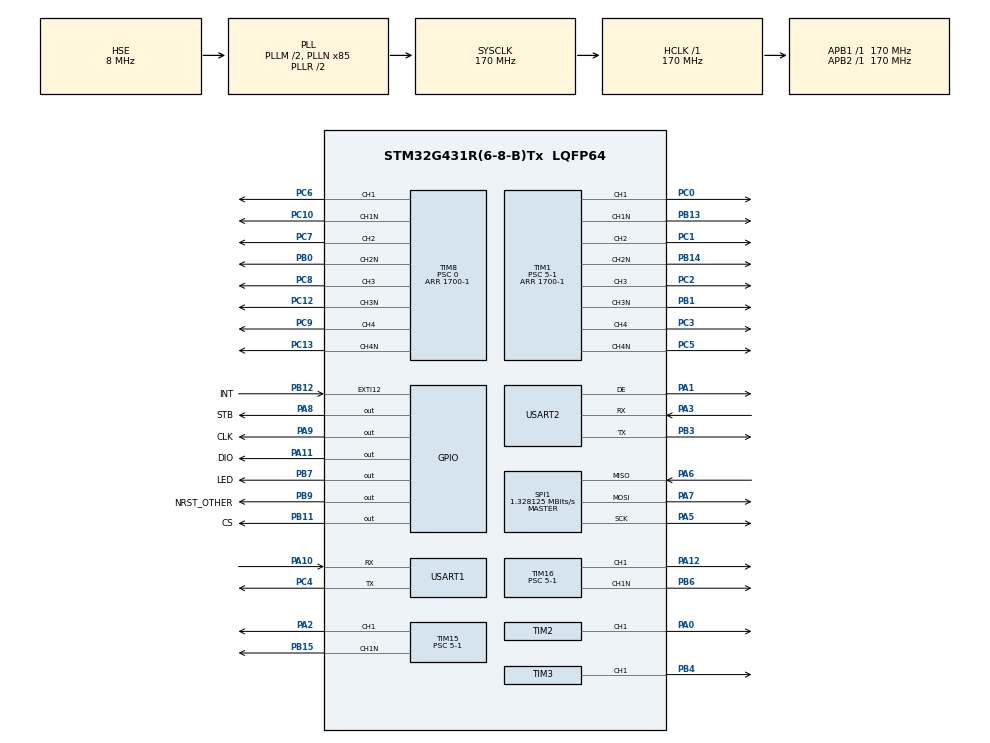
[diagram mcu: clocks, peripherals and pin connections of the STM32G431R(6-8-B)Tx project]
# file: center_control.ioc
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Dma.Request0=USART2_RX
Dma.USART2_RX.0.Direction=DMA_PERIPH_TO_MEMORY
Dma.USART2_RX.0.EventEnable=DISABLE
Dma.USART2_RX.0.Instance=DMA1_Channel1
Dma.USART2_RX.0.MemDataAlignment=DMA_MDATAALIGN_BYTE
Dma.USART2_RX.0.MemInc=DMA_MINC_ENABLE
Dma.USART2_RX.0.Mode=DMA_NORMAL
Dma.USART2_RX.0.PeriphDataAlignment=DMA_PDATAALIGN_BYTE
Dma.USART2_RX.0.PeriphInc=DMA_PINC_DISABLE
Dma.USART2_RX.0.Polarity=HAL_DMAMUX_REQ_GEN_RISING
Dma.USART2_RX.0.Priority=DMA_PRIORITY_LOW
Dma.USART2_RX.0.RequestNumber=1
Dma.USART2_RX.0.SignalID=NONE
Dma.USART2_RX.0.SyncEnable=DISABLE
Dma.USART2_RX.0.SyncPolarity=HAL_DMAMUX_SYNC_NO_EVENT
Dma.USART2_RX.0.SyncRequestNumber=1
Dma.USART2_RX.0.SyncSignalID=NONE
FREERTOS.Mutexes01=SysStateMutex,Dynamic,NULL,Available
FREERTOS.Queues01=Queue_Temp,4,float,0,Dynamic,NULL,NULL
FREERTOS.Tasks01=controlTask,40,512,StartcontrolTask,Default,NULL,Dynamic,NULL,NULL;HMITask,8,256,StartHMITask,Default,NULL,Dynamic,NULL,NULL
FREERTOS.configTOTAL_HEAP_SIZE=8192
Mcu.Family=STM32G4
Mcu.Name=STM32G431R(6-8-B)Tx
Mcu.Package=LQFP64
NVIC.DMA1_Channel1_IRQn=true\:5\:0\:false\:false\:true\:true\:false\:true\:true
NVIC.PriorityGroup=NVIC_PRIORITYGROUP_4
NVIC.TIM4_IRQn=true\:15\:0\:false\:false\:true\:false\:false\:true\:true
NVIC.TimeBase=TIM4_IRQn
NVIC.TimeBaseIP=TIM4
NVIC.USART2_IRQn=true\:6\:0\:true\:false\:true\:true\:true\:true\:true
PA0.Signal=S_TIM2_CH1
PA1.Mode=Hardware Flow Control (RS485)
PA1.Signal=USART2_DE
PA10.Mode=Asynchronous
PA10.Signal=USART1_RX
PA11.GPIO_Label=DIO
PA11.GPIO_ModeDefaultOutputPP=GPIO_MODE_OUTPUT_OD
PA11.GPIO_PuPd=GPIO_NOPULL
PA11.Signal=GPIO_Output
PA12.Signal=S_TIM16_CH1
PA13.Mode=Serial_Wire
PA13.Signal=SYS_JTMS-SWDIO
PA14.Mode=Serial_Wire
PA14.Signal=SYS_JTCK-SWCLK
PA2.Signal=S_TIM15_CH1
PA3.Mode=Asynchronous
PA3.Signal=USART2_RX
PA5.Mode=Full_Duplex_Master
PA5.Signal=SPI1_SCK
PA6.Mode=Full_Duplex_Master
PA6.Signal=SPI1_MISO
PA7.Mode=Full_Duplex_Master
PA7.Signal=SPI1_MOSI
PA8.GPIO_Label=STB
PA8.GPIO_ModeDefaultOutputPP=GPIO_MODE_OUTPUT_OD
PA8.GPIO_PuPd=GPIO_NOPULL
PA8.Signal=GPIO_Output
PA9.GPIO_Label=CLK
PA9.GPIO_ModeDefaultOutputPP=GPIO_MODE_OUTPUT_OD
PA9.GPIO_PuPd=GPIO_NOPULL
PA9.Signal=GPIO_Output
PB0.Mode=PWM Generation2 CH2 CH2N
PB0.Signal=TIM8_CH2N
PB1.Mode=PWM Generation3 CH3 CH3N
PB1.Signal=TIM1_CH3N
PB11.GPIO_Label=CS
PB11.Signal=GPIO_Output
PB12.GPIO_Label=INT
PB12.Signal=GPXTI12
PB13.Mode=PWM Generation1 CH1 CH1N
PB13.Signal=TIM1_CH1N
PB14.Mode=PWM Generation2 CH2 CH2N
PB14.Signal=TIM1_CH2N
PB15.Mode=PWM Generation1 CH1 CH1N
PB15.Signal=TIM15_CH1N
PB3.Mode=Asynchronous
PB3.Signal=USART2_TX
PB4.Signal=S_TIM3_CH1
PB6.Mode=PWM Generation1 CH1 CH1N
PB6.Signal=TIM16_CH1N
PB7.GPIO_Label=LED
PB7.Signal=GPIO_Output
PB9.GPIO_Label=NRST_OTHER
PB9.Signal=GPIO_Output
PC0.Signal=S_TIM1_CH1
PC1.Signal=S_TIM1_CH2
PC10.Mode=PWM Generation1 CH1 CH1N
PC10.Signal=TIM8_CH1N
PC12.Mode=PWM Generation3 CH3 CH3N
PC12.Signal=TIM8_CH3N
PC13.Mode=PWM Generation4 CH4 CH4N
PC13.Signal=TIM8_CH4N
PC2.Signal=S_TIM1_CH3
PC3.Signal=S_TIM1_CH4
PC4.Mode=Asynchronous
PC4.Signal=USART1_TX
PC5.Mode=PWM Generation4 CH4 CH4N
PC5.Signal=TIM1_CH4N
PC6.Signal=S_TIM8_CH1
PC7.Signal=S_TIM8_CH2
PC8.Signal=S_TIM8_CH3
PC9.Signal=S_TIM8_CH4
PF0-OSC_IN.Mode=HSE-External-Oscillator
PF0-OSC_IN.Signal=RCC_OSC_IN
PF1-OSC_OUT.Mode=HSE-External-Oscillator
PF1-OSC_OUT.Signal=RCC_OSC_OUT
ProjectManager.HeapSize=0x200
ProjectManager.StackSize=0x400
ProjectManager.TargetToolchain=MDK-ARM V5.32
RCC.ADC12Freq_Value=170000000
RCC.AHBFreq_Value=170000000
RCC.APB1Freq_Value=170000000
RCC.APB1TimFreq_Value=170000000
RCC.APB2Freq_Value=170000000
RCC.APB2TimFreq_Value=170000000
RCC.CortexFreq_Value=170000000
RCC.EXTERNAL_CLOCK_VALUE=12288000
RCC.HCLKFreq_Value=170000000
RCC.HSE_VALUE=8000000
RCC.HSI48_VALUE=48000000
RCC.HSI_VALUE=16000000
RCC.LSE_VALUE=32768
RCC.PLLM=RCC_PLLM_DIV2
RCC.PLLN=85
RCC.PLLSourceVirtual=RCC_PLLSOURCE_HSE
RCC.SYSCLKFreq_VALUE=170000000
RCC.SYSCLKSource=RCC_SYSCLKSOURCE_PLLCLK
RCC.USBFreq_Value=170000000
RCC.VCOOutputFreq_Value=340000000
SH.S_TIM15_CH1.0=TIM15_CH1,PWM Generation1 CH1 CH1N
SH.S_TIM16_CH1.0=TIM16_CH1,PWM Generation1 CH1 CH1N
SH.S_TIM1_CH1.0=TIM1_CH1,PWM Generation1 CH1 CH1N
SH.S_TIM1_CH2.0=TIM1_CH2,PWM Generation2 CH2 CH2N
SH.S_TIM1_CH3.0=TIM1_CH3,PWM Generation3 CH3 CH3N
SH.S_TIM1_CH4.0=TIM1_CH4,PWM Generation4 CH4 CH4N
SH.S_TIM2_CH1.0=TIM2_CH1,PWM Generation1 CH1
SH.S_TIM3_CH1.0=TIM3_CH1,PWM Generation1 CH1
SH.S_TIM8_CH1.0=TIM8_CH1,PWM Generation1 CH1 CH1N
SH.S_TIM8_CH2.0=TIM8_CH2,PWM Generation2 CH2 CH2N
SH.S_TIM8_CH3.0=TIM8_CH3,PWM Generation3 CH3 CH3N
SH.S_TIM8_CH4.0=TIM8_CH4,PWM Generation4 CH4 CH4N
SPI1.BaudRatePrescaler=SPI_BAUDRATEPRESCALER_128
SPI1.CalculateBaudRate=1.328125 MBits/s
SPI1.Direction=SPI_DIRECTION_2LINES
SPI1.Mode=SPI_MODE_MASTER
SPI1.VirtualType=VM_MASTER
TIM1.Channel-PWM\ Generation1\ CH1\ CH1N=TIM_CHANNEL_1
TIM1.Channel-PWM\ Generation2\ CH2\ CH2N=TIM_CHANNEL_2
TIM1.Channel-PWM\ Generation3\ CH3\ CH3N=TIM_CHANNEL_3
TIM1.Channel-PWM\ Generation4\ CH4\ CH4N=TIM_CHANNEL_4
TIM1.DeadTime=100-1
TIM1.DeadTimePreload=ENABLE
TIM1.OffStateIDLEMode=TIM_OSSI_ENABLE
TIM1.OffStateRunMode=TIM_OSSR_ENABLE
TIM1.PeriodNoDither=1700-1
TIM1.Prescaler=5-1
TIM15.Channel-PWM\ Generation1\ CH1\ CH1N=TIM_CHANNEL_1
TIM15.DeadTime=100
TIM15.DeadTimePreload=ENABLE
TIM15.OffStateIDLEMode=TIM_OSSI_ENABLE
TIM15.OffStateRunMode=TIM_OSSR_ENABLE
TIM15.PeriodNoDither=1700-1
TIM15.Prescaler=5-1
TIM16.Channel=TIM_CHANNEL_1
TIM16.DeadTime=100
TIM16.DeadTimePreload=ENABLE
TIM16.OffStateIDLEMode=TIM_OSSI_ENABLE
TIM16.OffStateRunMode=TIM_OSSR_ENABLE
TIM16.PeriodNoDither=1700-1
TIM16.Prescaler=5-1
TIM2.Channel-PWM\ Generation1\ CH1=TIM_CHANNEL_1
TIM2.PeriodNoDither=1000-1
TIM2.Prescaler=68-1
TIM3.Channel-PWM\ Generation1\ CH1=TIM_CHANNEL_1
TIM3.PeriodNoDither=1000-1
TIM3.Prescaler=85-1
TIM8.AsymmetricalDeadTime=DISABLE
TIM8.Channel-PWM\ Generation1\ CH1\ CH1N=TIM_CHANNEL_1
TIM8.Channel-PWM\ Generation2\ CH2\ CH2N=TIM_CHANNEL_2
TIM8.Channel-PWM\ Generation3\ CH3\ CH3N=TIM_CHANNEL_3
TIM8.Channel-PWM\ Generation4\ CH4\ CH4N=TIM_CHANNEL_4
TIM8.DeadTime=150
TIM8.DeadTimePreload=ENABLE
TIM8.OffStateIDLEMode=TIM_OSSI_ENABLE
TIM8.OffStateRunMode=TIM_OSSR_ENABLE
TIM8.PeriodNoDither=1700-1
TIM8.Prescaler=0
USART1.VirtualMode-Asynchronous=VM_ASYNC
USART2.VirtualMode-Asynchronous=VM_ASYNC
USART2.VirtualMode-Hardware\ Flow\ Control\ (RS485)=VM_ASYNC
VP_FREERTOS_VS_CMSIS_V2.Mode=CMSIS_V2
VP_SYS_VS_DBSignals.Mode=DisableDeadBatterySignals
VP_SYS_VS_tim4.Mode=TIM4
VP_TIM15_VS_ClockSourceINT.Mode=Internal
VP_TIM16_VS_ClockSourceINT.Mode=Enable_Timer
VP_TIM1_VS_ClockSourceINT.Mode=Internal
VP_TIM2_VS_ClockSourceINT.Mode=Internal
VP_TIM3_VS_ClockSourceINT.Mode=Internal
VP_TIM8_VS_ClockSourceINT.Mode=Internal
board=custom

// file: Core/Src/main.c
/* USER CODE BEGIN Header */
/**
 ******************************************************************************
 * @file           : main.c
 * @brief          : Main program body
 ******************************************************************************
 * @attention
 *
 * Copyright (c) 2026 STMicroelectronics.
 * All rights reserved.
 *
 * This software is licensed under terms that can be found in the LICENSE file
 * in the root directory of this software component.
 * If no LICENSE file comes with this software, it is provided AS-IS.
 *
 ******************************************************************************
 */
/* USER CODE END Header */
#include "main.h"
#include "cmsis_os.h"
#include "dma.h"
#include "spi.h"
#include "tim.h"
#include "usart.h"
#include "gpio.h"

/* USER CODE BEGIN Includes */
#include "tm1638_board.h"
#include "pid_controller.h"
#include "temp_panel.h"
/* USER CODE END Includes */

/* USER CODE BEGIN PV */
#define RX_BUFFER_SIZE 256
uint8_t rx_buffer[RX_BUFFER_SIZE];
uint16_t rx_length = 0;

PID_TypeDef temp_pid;

float Sys_Temperatures[4] = {0.0f};
uint8_t Sys_Status[4] = {0};

int16_t count_tim4 = 0;
int8_t flag_temp_update = 0;
/* USER CODE END PV */

void SystemClock_Config(void);
void MX_FREERTOS_Init(void);
/* USER CODE BEGIN PFP */
void Parse_Temperature_Buffer(uint8_t *pData, uint16_t Size);
void Parse_Temperature_Byte(uint8_t rx_byte);
/* USER CODE END PFP */

/* USER CODE BEGIN 0 */
/* ── 长按检测 ── */
static uint32_t key_hold_start[KEY_MAX_NUM] = {0};
static uint32_t key_last_repeat[KEY_MAX_NUM] = {0};
static bool key_long_sent[KEY_MAX_NUM] = {false};

/* 按键回调: 仅在按下瞬间触发 SHORT 事件, 同时记录 hold 起始时刻 */
static void OnTM1638Key(TM1638_Key_t key)
{
  PanelKey_t pk = PanelKey_FromTM1638(key);
  if (pk == PANEL_KEY_NONE)
    return;

  uint32_t now = osKernelGetTickCount();
  key_hold_start[key] = now;
  key_last_repeat[key] = 0;
  key_long_sent[key] = false;
  TempPanel_KeyEvent(&g_panel, pk, PANEL_KEY_EVT_SHORT, now);
}

/*
 * 长按/连发检测: 需在主循环或 HMITask 中每 20ms 调用,
 * 紧跟在 TM1638_ProcessKeys() 之后。
 */
void CheckKeyHoldEvents(void)
{
  uint32_t now = osKernelGetTickCount();
  for (int i = 0; i < KEY_MAX_NUM; i++)
  {
    PanelKey_t pk = PanelKey_FromTM1638((TM1638_Key_t)i);
    if (pk == PANEL_KEY_NONE)
      continue;

    if (htm1638.key_states[i])
    {
      if (key_hold_start[i] == 0)
        continue;

      uint32_t held = now - key_hold_start[i];

      /* 按住 > 2s 触发一次 LONG */
      if (held >= 2000)
      {
        if (!key_long_sent[i])
        {
          TempPanel_KeyEvent(&g_panel, pk, PANEL_KEY_EVT_LONG, now);
          key_long_sent[i] = true;
        }
      }
      /* 按住 > 500ms 开始连发, 每 150ms 一次 REPEAT */
      else if (held >= 500)
      {
        if (key_last_repeat[i] == 0 || now - key_last_repeat[i] >= 150)
        {
          TempPanel_KeyEvent(&g_panel, pk, PANEL_KEY_EVT_REPEAT, now);
          key_last_repeat[i] = now;
        }
      }
    }
    else
    {
      key_hold_start[i] = 0;
      key_last_repeat[i] = 0;
      key_long_sent[i] = false;
    }
  }
}

void OnModeKeyPressed(void) { OnTM1638Key(KEY_MODE); }
void OnStartStopKeyPressed(void) { OnTM1638Key(KEY_START_STOP); }
void OnUpKeyPressed(void) { OnTM1638Key(KEY_UP); }
void OnDownKeyPressed(void) { OnTM1638Key(KEY_DOWN); }
void OnEnterKeyPressed(void) { OnTM1638Key(KEY_ENTER); }
/* USER CODE END 0 */

int main(void)
{

  /* MCU Configuration--------------------------------------------------------*/

  /* Reset of all peripherals, Initializes the Flash interface and the Systick. */
  HAL_Init();

  /* Configure the system clock */
  SystemClock_Config();

  /* Initialize all configured peripherals */
  MX_GPIO_Init();
  MX_DMA_Init();
  MX_SPI1_Init();
  MX_TIM1_Init();
  MX_TIM2_Init();
  MX_TIM3_Init();
  MX_TIM8_Init();
  MX_TIM15_Init();
  MX_TIM16_Init();
  MX_USART1_UART_Init();
  MX_USART2_UART_Init();
  /* USER CODE BEGIN 2 */

  //  HAL_TIM_PWM_Start(&htim1, TIM_CHANNEL_1);
  //  HAL_TIMEx_PWMN_Start(&htim1, TIM_CHANNEL_1);
  //  HAL_TIM_PWM_Start(&htim1, TIM_CHANNEL_2);
  //  HAL_TIMEx_PWMN_Start(&htim1, TIM_CHANNEL_2);
  HAL_TIM_PWM_Start(&htim1, TIM_CHANNEL_3);
  HAL_TIMEx_PWMN_Start(&htim1, TIM_CHANNEL_3);
  HAL_TIM_PWM_Start(&htim1, TIM_CHANNEL_4);
  HAL_TIMEx_PWMN_Start(&htim1, TIM_CHANNEL_4);

  //  HAL_TIM_PWM_Start(&htim8, TIM_CHANNEL_1);
  //  HAL_TIMEx_PWMN_Start(&htim8, TIM_CHANNEL_1);
  //  HAL_TIM_PWM_Start(&htim8, TIM_CHANNEL_2);
  //  HAL_TIMEx_PWMN_Start(&htim8, TIM_CHANNEL_2);
  //  HAL_TIM_PWM_Start(&htim8, TIM_CHANNEL_3);
  //  HAL_TIMEx_PWMN_Start(&htim8, TIM_CHANNEL_3);
  //  HAL_TIM_PWM_Start(&htim8, TIM_CHANNEL_4);
  //  HAL_TIMEx_PWMN_Start(&htim8, TIM_CHANNEL_4);

  //  HAL_TIM_PWM_Start(&htim15, TIM_CHANNEL_1);
  //  HAL_TIMEx_PWMN_Start(&htim15, TIM_CHANNEL_1);

  //  HAL_TIM_PWM_Start(&htim16, TIM_CHANNEL_1);
  //  HAL_TIMEx_PWMN_Start(&htim16, TIM_CHANNEL_1);

  //  __HAL_TIM_SET_COMPARE(&htim1, TIM_CHANNEL_1, 0);
  //  __HAL_TIM_SET_COMPARE(&htim1, TIM_CHANNEL_2, 0);

  //  __HAL_TIM_SET_COMPARE(&htim1, TIM_CHANNEL_3, 0);
  //  __HAL_TIM_SET_COMPARE(&htim1, TIM_CHANNEL_4, 0);

  //  __HAL_TIM_SET_COMPARE(&htim8, TIM_CHANNEL_1, 0);
  //  __HAL_TIM_SET_COMPARE(&htim8, TIM_CHANNEL_2, 0);

  //  __HAL_TIM_SET_COMPARE(&htim8, TIM_CHANNEL_3, 0);
  //  __HAL_TIM_SET_COMPARE(&htim8, TIM_CHANNEL_4, 0);

  //  __HAL_TIM_SET_COMPARE(&htim15, TIM_CHANNEL_1, 0);
  //  __HAL_TIM_SET_COMPARE(&htim16, TIM_CHANNEL_1, 0);

  HAL_TIM_PWM_Start(&htim2, TIM_CHANNEL_1);
  HAL_TIM_PWM_Start(&htim3, TIM_CHANNEL_1);
  __HAL_TIM_SET_COMPARE(&htim2, TIM_CHANNEL_1, 1000 - 1);

  // 启动带有空闲检测的 DMA 接收
  // 1. 启动 USART2 带有空闲检测的 DMA 接收
  HAL_UARTEx_ReceiveToIdle_DMA(&huart2, rx_buffer, RX_BUFFER_SIZE);

  // 2. 修正报错：直接通过 huart2 结构体内部的 hdmarx 指针来关闭过半中断
  __HAL_DMA_DISABLE_IT(huart2.hdmarx, DMA_IT_HT);
  HAL_Delay(1000);

  /* 一键初始化: TM1638 + Panel + PID + 默认显示 */
  Panel_Init();

  /* 注册所有按键回调 */
  TM1638_RegisterKeyCallback(&htm1638, KEY_MODE, OnModeKeyPressed);
  TM1638_RegisterKeyCallback(&htm1638, KEY_START_STOP, OnStartStopKeyPressed);
  TM1638_RegisterKeyCallback(&htm1638, KEY_UP, OnUpKeyPressed);
  TM1638_RegisterKeyCallback(&htm1638, KEY_DOWN, OnDownKeyPressed);
  TM1638_RegisterKeyCallback(&htm1638, KEY_ENTER, OnEnterKeyPressed);

  __HAL_TIM_SET_COMPARE(&htim2, TIM_CHANNEL_1, 500);
  __HAL_TIM_SET_COMPARE(&htim3, TIM_CHANNEL_1, 1000 - 1);

  HAL_Delay(100);
  __HAL_TIM_SET_COMPARE(&htim1, TIM_CHANNEL_3, 200);
  HAL_Delay(100);
  __HAL_TIM_SET_COMPARE(&htim1, TIM_CHANNEL_3, 400);
  HAL_Delay(100);
  __HAL_TIM_SET_COMPARE(&htim1, TIM_CHANNEL_3, 700);

  // HAL_Delay(100);
  // __HAL_TIM_SET_COMPARE(&htim8, TIM_CHANNEL_2, 100);
  // HAL_Delay(100);
  // __HAL_TIM_SET_COMPARE(&htim8, TIM_CHANNEL_2, 200);
  // HAL_Delay(100);
  // __HAL_TIM_SET_COMPARE(&htim8, TIM_CHANNEL_2, 300);
  // HAL_Delay(100);
  // __HAL_TIM_SET_COMPARE(&htim8, TIM_CHANNEL_2, 400);
  // HAL_Delay(100);
  // __HAL_TIM_SET_COMPARE(&htim8, TIM_CHANNEL_2, 600);
  // HAL_Delay(100);
  // __HAL_TIM_SET_COMPARE(&htim8, TIM_CHANNEL_2, 800);
  // //		HAL_Delay(100);
  // //	__HAL_TIM_SET_COMPARE(&htim8, TIM_CHANNEL_2, 900);
  // //			HAL_Delay(1000);
  // //	__HAL_TIM_SET_COMPARE(&htim8, TIM_CHANNEL_2, 1000);

  // //
  // //
  // HAL_Delay(100);
  // __HAL_TIM_SET_COMPARE(&htim1, TIM_CHANNEL_2, 100);
  // HAL_Delay(100);
  // __HAL_TIM_SET_COMPARE(&htim1, TIM_CHANNEL_2, 200);
  // HAL_Delay(100);
  // __HAL_TIM_SET_COMPARE(&htim1, TIM_CHANNEL_2, 300);
  // HAL_Delay(100);
  // __HAL_TIM_SET_COMPARE(&htim1, TIM_CHANNEL_2, 350);
  // HAL_Delay(100);
  // __HAL_TIM_SET_COMPARE(&htim1, TIM_CHANNEL_2, 600);
  // HAL_Delay(100);
  // __HAL_TIM_SET_COMPARE(&htim1, TIM_CHANNEL_2, 700);
  ////		HAL_Delay(100);
  ////	__HAL_TIM_SET_COMPARE(&htim1, TIM_CHANNEL_2, 900);
  //
  //
  //			HAL_Delay(100);
  //	__HAL_TIM_SET_COMPARE(&htim15, TIM_CHANNEL_1, 100);
  //	HAL_Delay(100);
  //	__HAL_TIM_SET_COMPARE(&htim15, TIM_CHANNEL_1, 200);
  //	HAL_Delay(100);
  //	__HAL_TIM_SET_COMPARE(&htim15, TIM_CHANNEL_1, 300);
  //	HAL_Delay(100);
  //	__HAL_TIM_SET_COMPARE(&htim15, TIM_CHANNEL_1, 400);
  //		HAL_Delay(100);
  //	__HAL_TIM_SET_COMPARE(&htim15, TIM_CHANNEL_1, 600);
  //		HAL_Delay(100);
  //	__HAL_TIM_SET_COMPARE(&htim15, TIM_CHANNEL_1, 700);
  //		HAL_Delay(100);
  ////	__HAL_TIM_SET_COMPARE(&htim16, TIM_CHANNEL_1, 900);
  ////			HAL_Delay(100);
  ////	__HAL_TIM_SET_COMPARE(&htim1, TIM_CHANNEL_4, 1000);
  //

  // // 1. 初始化 PID: Kp=2.0, Ki=5.0, Kd=0.1, 采样周期 dt=0.01秒 (即 100Hz)
  // PID_Init(&temp_pid, 30.0f, 1.0f, 0.0f, 0.1f);

  // // 2. 设置限幅: 输出限制在 -100 到 100 (占空比), 积分限制在 -40 到 40
  // PID_SetLimits(&temp_pid, 700, 1699, 700, 1600);

  // // 3. 设置目标值：让电机达到 1500 RPM
  // PID_SetTarget(&temp_pid, -10.0f);

  //
  HAL_GPIO_WritePin(NRST_OTHER_GPIO_Port, NRST_OTHER_Pin, GPIO_PIN_SET);
  uint32_t last_scan_time = 0;
  float temp = 0.0f;

  /* USER CODE END 2 */

  /* Init scheduler */
  osKernelInitialize(); /* Call init function for freertos objects (in cmsis_os2.c) */
  MX_FREERTOS_Init();

  /* Start scheduler */
  osKernelStart();

  /* We should never get here as control is now taken by the scheduler */

  /* Infinite loop (fallback: 如果 FreeRTOS 未启动，在此运行测试程序) */
  while (1)
  {

    /* USER CODE BEGIN 3 */
    uint32_t now = HAL_GetTick();
    static uint32_t last_scan = 0;

    /* 每 20ms 扫描一次按键并驱动面板 */
    if (now - last_scan >= 20)
    {
      last_scan = now;
      TM1638_ProcessKeys(&htm1638);
      TempPanel_Task(&g_panel, now);
    }

    /* 将收到的温度数据注入面板 (float 直接传入) */
    if (flag_temp_update)
    {
      TempPanel_UpdateMeasuredTemp(&g_panel, 1, Sys_Temperatures[1], now);
      flag_temp_update = 0;
    }

    HAL_GPIO_TogglePin(LED_GPIO_Port, LED_Pin);
    osDelay(10);
  }
  /* USER CODE END 3 */
}

void SystemClock_Config(void)
{
  RCC_OscInitTypeDef RCC_OscInitStruct = {0};
  RCC_ClkInitTypeDef RCC_ClkInitStruct = {0};

  /** Configure the main internal regulator output voltage
   */
  HAL_PWREx_ControlVoltageScaling(PWR_REGULATOR_VOLTAGE_SCALE1_BOOST);

  /** Initializes the RCC Oscillators according to the specified parameters
   * in the RCC_OscInitTypeDef structure.
   */
  RCC_OscInitStruct.OscillatorType = RCC_OSCILLATORTYPE_HSE;
  RCC_OscInitStruct.HSEState = RCC_HSE_ON;
  RCC_OscInitStruct.PLL.PLLState = RCC_PLL_ON;
  RCC_OscInitStruct.PLL.PLLSource = RCC_PLLSOURCE_HSE;
  RCC_OscInitStruct.PLL.PLLM = RCC_PLLM_DIV2;
  RCC_OscInitStruct.PLL.PLLN = 85;
  RCC_OscInitStruct.PLL.PLLP = RCC_PLLP_DIV2;
  RCC_OscInitStruct.PLL.PLLQ = RCC_PLLQ_DIV2;
  RCC_OscInitStruct.PLL.PLLR = RCC_PLLR_DIV2;
  if (HAL_RCC_OscConfig(&RCC_OscInitStruct) != HAL_OK)
  {
    Error_Handler();
  }

  /** Initializes the CPU, AHB and APB buses clocks
   */
  RCC_ClkInitStruct.ClockType = RCC_CLOCKTYPE_HCLK | RCC_CLOCKTYPE_SYSCLK | RCC_CLOCKTYPE_PCLK1 | RCC_CLOCKTYPE_PCLK2;
  RCC_ClkInitStruct.SYSCLKSource = RCC_SYSCLKSOURCE_PLLCLK;
  RCC_ClkInitStruct.AHBCLKDivider = RCC_SYSCLK_DIV1;
  RCC_ClkInitStruct.APB1CLKDivider = RCC_HCLK_DIV1;
  RCC_ClkInitStruct.APB2CLKDivider = RCC_HCLK_DIV1;

  if (HAL_RCC_ClockConfig(&RCC_ClkInitStruct, FLASH_LATENCY_4) != HAL_OK)
  {
    Error_Handler();
  }
}

/* USER CODE BEGIN 4 */
void HAL_UARTEx_RxEventCallback(UART_HandleTypeDef *huart, uint16_t Size)
{
  // 判断是否是 USART2 触发的接收完成/空闲中断
  if (huart->Instance == USART2)
  {
    // 2. 将这次 DMA 收到的数据块扔给解析器提取温度
    Parse_Temperature_Buffer(rx_buffer, Size);

    // 3. 必须重新开启 USART2 的 DMA 接收，否则只能收一次
    HAL_UARTEx_ReceiveToIdle_DMA(&huart2, rx_buffer, RX_BUFFER_SIZE);

    // 4. 再次关闭过半中断，防止接收一半时触发不必要的中断打断 CPU
    __HAL_DMA_DISABLE_IT(huart->hdmarx, DMA_IT_HT);
  }
}

/**
 * @brief  字节级协议解析状态机 (自动处理粘包/断包)
 * @param  rx_byte 接收到的单字节
 */
void Parse_Temperature_Byte(uint8_t rx_byte)
{
  static uint8_t state = 0;
  static uint8_t frame_buf[9];
  static uint8_t idx = 0;

  switch (state)
  {
  case 0: // 寻找帧头 1
    if (rx_byte == 0xAA)
    {
      frame_buf[0] = rx_byte;
      state = 1;
    }
    break;

  case 1: // 寻找帧头 2
    if (rx_byte == 0x55)
    {
      frame_buf[1] = rx_byte;
      idx = 2;
      state = 2;
    }
    else if (rx_byte == 0xAA)
    {
      state = 1; // 容错：连续收到两个 AA
    }
    else
    {
      state = 0; // 帧头错误，状态机复位
    }
    break;

  case 2: // 接收数据体与校验和
    frame_buf[idx++] = rx_byte;

    if (idx >= 9)
    { // 收集满一帧 9 字节
      // 1. 计算校验和
      uint8_t sum = 0;
      for (int i = 2; i <= 7; i++)
      {
        sum += frame_buf[i];
      }

      // 2. 验证校验和
      if (sum == frame_buf[8])
      {
        uint8_t ch_id = frame_buf[2];  // 通道号 1~4
        uint8_t status = frame_buf[3]; // 状态位

        // 3. 提取并保存数据
        if (ch_id >= 1 && ch_id <= 4)
        {
          Sys_Status[ch_id - 1] = status; // 保存状态

          if (status == 0)
          {
            // 状态正常时，提取浮点温度数据
            float temp_val;
            uint8_t *pTemp = (uint8_t *)&temp_val;
            pTemp[0] = frame_buf[4];
            pTemp[1] = frame_buf[5];
            pTemp[2] = frame_buf[6];
            pTemp[3] = frame_buf[7];

            // 存入全局温度数组
            Sys_Temperatures[ch_id - 1] = temp_val;

            // printf("CH%d OK: %.4f\r\n", ch_id, temp_val);
            if (ch_id == 2) // 如果是 CH2 的温度更新了，设置标志让主循环计算 PID 输出
            {
              flag_temp_update = 1;
            }
          }
          else
          {
            // 如果状态为 1 (断开/超时)，为了安全，可以把该通道温度设为一个异常值 (例如 -999.0)
            // Sys_Temperatures[ch_id - 1] = -999.0f;
          }
        }
      }
      // 解析完毕，状态机归零，准备迎接下一帧
      state = 0;
    }
    break;
  }
}

/**
 * @brief  数据块解析函数 (供空闲中断调用)
 * @param  pData 接收到的数据首地址
 * @param  Size  接收到的数据长度
 */
void Parse_Temperature_Buffer(uint8_t *pData, uint16_t Size)
{
  for (uint16_t i = 0; i < Size; i++)
  {
    Parse_Temperature_Byte(pData[i]); // 将数据块逐字节喂给状态机
  }
}

/* USER CODE END 4 */

void HAL_TIM_PeriodElapsedCallback(TIM_HandleTypeDef *htim)
{
  if (htim->Instance == TIM4)
  {
    HAL_IncTick();
  }
}

void Error_Handler(void)
{
  __disable_irq();
  while (1)
  {
  }
}

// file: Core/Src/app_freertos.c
/* USER CODE BEGIN Header */
/**
 ******************************************************************************
 * File Name          : app_freertos.c
 * Description        : Code for freertos applications
 ******************************************************************************
 * @attention
 *
 * Copyright (c) 2026 STMicroelectronics.
 * All rights reserved.
 *
 * This software is licensed under terms that can be found in the LICENSE file
 * in the root directory of this software component.
 * If no LICENSE file comes with this software, it is provided AS-IS.
 *
 ******************************************************************************
 */
/* USER CODE END Header */

#include "FreeRTOS.h"
#include "task.h"
#include "main.h"
#include "cmsis_os.h"

/* USER CODE BEGIN Includes */
#include "tm1638_board.h"
#include "temp_panel.h"
/* USER CODE END Includes */

/* Definitions for controlTask */
osThreadId_t controlTaskHandle;
const osThreadAttr_t controlTask_attributes = {
    .name = "controlTask",
    .priority = (osPriority_t)osPriorityHigh,
    .stack_size = 512 * 4};
/* Definitions for HMITask */
osThreadId_t HMITaskHandle;
const osThreadAttr_t HMITask_attributes = {
    .name = "HMITask",
    .priority = (osPriority_t)osPriorityLow,
    .stack_size = 256 * 4};
/* Definitions for Queue_Temp */
osMessageQueueId_t Queue_TempHandle;
const osMessageQueueAttr_t Queue_Temp_attributes = {
    .name = "Queue_Temp"};
/* Definitions for SysStateMutex */
osMutexId_t SysStateMutexHandle;
const osMutexAttr_t SysStateMutex_attributes = {
    .name = "SysStateMutex"};

void StartcontrolTask(void *argument);
void StartHMITask(void *argument);

void MX_FREERTOS_Init(void); /* (MISRA C 2004 rule 8.1) */

void MX_FREERTOS_Init(void)
{
  /* Create the mutex(es) */
  /* creation of SysStateMutex */
  SysStateMutexHandle = osMutexNew(&SysStateMutex_attributes);

  /* Create the queue(s) */
  /* creation of Queue_Temp */
  Queue_TempHandle = osMessageQueueNew(4, sizeof(float), &Queue_Temp_attributes);

  /* Create the thread(s) */
  /* creation of controlTask */
  controlTaskHandle = osThreadNew(StartcontrolTask, NULL, &controlTask_attributes);

  /* creation of HMITask */
  HMITaskHandle = osThreadNew(StartHMITask, NULL, &HMITask_attributes);

}

void StartcontrolTask(void *argument)
{
  /* USER CODE BEGIN StartcontrolTask */
  /* Infinite loop */
  uint32_t now;

  /*
   * PID 控制循环 (100Hz = 10ms)
   *
   * 伪代码示意:
   *
   *   float current_temp = get_cell_temperature(cell);
   *   float output = PID_Compute(pid, current_temp);
   *   if (output > 0) { // 加热
   *       __HAL_TIM_SET_COMPARE(&htim1, TIM_CHANNEL_3, (uint32_t)output);
   *       __HAL_TIM_SET_COMPARE(&htim1, TIM_CHANNEL_4, 0);
   *   } else { // 制冷
   *       __HAL_TIM_SET_COMPARE(&htim1, TIM_CHANNEL_3, 0);
   *       __HAL_TIM_SET_COMPARE(&htim1, TIM_CHANNEL_4, (uint32_t)(-output));
   *   }
   */
  for (;;)
  {
    // now = osKernelGetTickCount();

    // /* 对两个恒温池执行 PID 控制循环 */
    // for (uint8_t cell = 0; cell < PANEL_CELL_NUM; cell++)
    // {
    //   TempCell_t *c = &g_panel.cell[cell];
    //
    //   if (c->run_mode != CELL_STOP && c->pid_enabled)
    //   {
    //     /* PID_TypeDef *pid = get_pid_for_cell(cell); */
    //     float output = PID_Compute(&temp_pid, c->current_temp);
    //
    //     if (cell == 0)
    //     {
    //       if (output > 0.0f) {
    //         __HAL_TIM_SET_COMPARE(&htim1, TIM_CHANNEL_3, (uint32_t)output);
    //       } else {
    //         __HAL_TIM_SET_COMPARE(&htim1, TIM_CHANNEL_4, (uint32_t)(-output));
    //       }
    //     }
    //   }
    // }

    osDelay(10); /* 100Hz */
  }
  /* USER CODE END StartcontrolTask */
}

void StartHMITask(void *argument)
{
  /* USER CODE BEGIN StartHMITask */
  /* Infinite loop */
  uint32_t now;
  static uint32_t last_tick = 0;

  for (;;)
  {
    now = osKernelGetTickCount();

    /* 每 20ms 扫描按键并驱动面板逻辑 */
    if (now - last_tick >= 20)
    {
      last_tick = now;

      /* 1. 扫描 TM1638 按键 (内部触发 OnTM1638Key → TempPanel_KeyEvent SHORT) */
      TM1638_ProcessKeys(&htm1638);

      /* 1.5 长按/连发检测 (触发 REPEAT / LONG) */
      CheckKeyHoldEvents();

      /* 2. 面板周期任务: 超时检测 + 模式切换 + 显示刷新 */
      TempPanel_Task(&g_panel, now);

      /* 3. 心跳 LED 闪烁 (每 500ms 翻转) */
      static uint32_t last_blink = 0;
      if (now - last_blink >= 500)
      {
        last_blink = now;
        HAL_GPIO_TogglePin(LED_GPIO_Port, LED_Pin);
      }
    }

    osDelay(5); /* 5ms tick, 让 FreeRTOS 有机会调度 */
  }
  /* USER CODE END StartHMITask */
}
